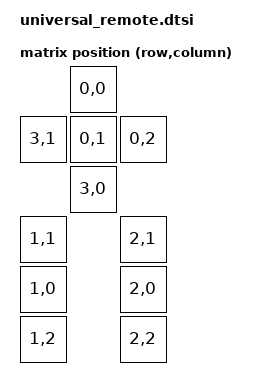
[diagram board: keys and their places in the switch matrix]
#include <dt-bindings/zmk/matrix_transform.h>
#include "universal_remote_physical_layout.dtsi"

/ {

    chosen {
        zmk,kscan = &kscan0;
        zmk,physical-layout = &physical_layout0;
    };

    kscan0: kscan0 {
        compatible = "zmk,kscan-gpio-matrix";
        status = "disabled";
    };

    default_transform: keymap_transform0 {
        compatible = "zmk,matrix-transform";
        columns = <3>;
        rows = <4>;

        // Top to bottom: the D-pad (SW1; SW8, SW5, SW9; SW4), then the
        // pairs SW6/SW7, SW2/SW3 and SW10/SW11.
        map = <
                    RC(0,0)
            RC(3,1) RC(0,1) RC(0,2)
                    RC(3,0)
            RC(1,1)         RC(2,1)
            RC(1,0)         RC(2,0)
            RC(1,2)         RC(2,2)
        >;
    };
};
